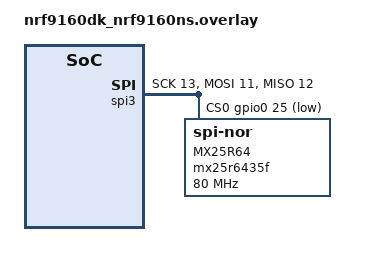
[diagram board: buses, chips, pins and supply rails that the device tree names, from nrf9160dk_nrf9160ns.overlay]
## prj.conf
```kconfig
CONFIG_SERIAL=y
#CONFIG_TRUSTED_EXECUTION_NONSECURE=y
#CONFIG_UART_INTERRUPT_DRIVEN=y
#CONFIG_UART_0_NRF_UARTE=y


# SPI

CONFIG_SPI=y
#CONFIG_NRFX_SPIM=y
#CONFIG_NRFX_SPIM3=y
#CONFIG_SPI_ASYNC=n

CONFIG_LOG=y
CONFIG_SPI_LOG_LEVEL_DBG=y


# Segger RTT
CONFIG_USE_SEGGER_RTT=y
CONFIG_RTT_CONSOLE=y
CONFIG_UART_CONSOLE=n
CONFIG_LOG_BACKEND_RTT=y
CONFIG_LOG_BACKEND_UART=n

CONFIG_DEBUG=y
CONFIG_THREAD_MONITOR=y
CONFIG_THREAD_NAME=y
CONFIG_THREAD_STACK_INFO=y
```

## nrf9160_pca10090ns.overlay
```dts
/*  */
&spi3 {
	compatible = "nordic,nrf-spim";
	status = "okay";
	sck-pin = <13>;
	mosi-pin = <11>;
	miso-pin = <12>;
    /* 
	cs-gpios = <&gpio0 25 GPIO_ACTIVE_LOW>;
	mx25r64: mx25r6435f@0 {
		compatible = "jedec,spi-nor";
		reg = <0>;
		spi-max-frequency = <80000000>;
		label = "MX25R64";
		jedec-id = [c2 28 17];
		size = <67108864>;
	};
    */
};
```

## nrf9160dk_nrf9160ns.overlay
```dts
/*  */
&spi3 {
	compatible = "nordic,nrf-spim";
	status = "okay";
	sck-pin = <13>;
	mosi-pin = <11>;
	miso-pin = <12>;
	cs-gpios = <&gpio0 25 GPIO_ACTIVE_LOW>;
	mx25r64: mx25r6435f@0 {
		compatible = "jedec,spi-nor";
		reg = <0>;
		spi-max-frequency = <80000000>;
		label = "MX25R64";
		jedec-id = [c2 28 17];
		size = <67108864>;
	};
};

&spi2 {
	status = "disabled";
};

&i2c1 {
    status = "disabled";
};
```

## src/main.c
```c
/*

* Copyright (c) 2012-2014 Wind River Systems, Inc.

*

* SPDX-License-Identifier: Apache-2.0

*/

#define TEST_SPI_CS_EN 1
#define SPI_CS_CFG_FROM_DTS 1

#if SPI_CS_CFG_FROM_DTS
#define DT_DRV_COMPAT jedec_spi_nor
#endif

#include <zephyr.h>
#include <sys/printk.h>

#include <drivers/spi.h>

/* including 

	const struct device	*gpio_dev;
	uint32_t		delay;
	gpio_pin_t		gpio_pin;
	gpio_dt_flags_t		gpio_dt_flags;
*/

#if TEST_SPI_CS_EN
struct spi_cs_control cs_ctrl; /*   */
#endif

static struct spi_config spi_cfg = {
	.operation = SPI_WORD_SET(8) /* | SPI_TRANSFER_MSB | SPI_MODE_CPOL |
		     SPI_MODE_CPHA*/,
	.frequency = 1000000,
	.slave = 0,
};

const struct device *spi_dev;

static void spi_init(void)
{
#if TEST_SPI_CS_EN
#if !SPI_CS_CFG_FROM_DTS /* not from DTS */
	/* A quick dirty way to add CS to SPI Master to control slave CS  */
	cs_ctrl.delay =
		0U; /* us time setup CS before and after SPI activities   */
	cs_ctrl.gpio_pin = 7; /* px.07; GPIO_0 -> p0.07 */
	cs_ctrl.gpio_dt_flags = GPIO_ACTIVE_LOW;
	cs_ctrl.gpio_dev = device_get_binding("GPIO_0");

	if (!cs_ctrl.gpio_dev) {
		printk("Unable to get GPIO SPI CS device");
		return;
	}
#else

/* require dts overlay includes the cs pin details, propery device driver setup.*/
#if DT_INST_SPI_DEV_HAS_CS_GPIOS(0)
	cs_ctrl.delay = 0U;
	cs_ctrl.gpio_pin =
		DT_INST_SPI_DEV_CS_GPIOS_PIN(0); /* */
	cs_ctrl.gpio_dt_flags = DT_INST_SPI_DEV_CS_GPIOS_FLAGS(0);
	cs_ctrl.gpio_dev =
		device_get_binding(DT_INST_SPI_DEV_CS_GPIOS_LABEL(0));

	if (!cs_ctrl.gpio_dev) {
		printk("Unable to get GPIO SPI CS device");
		return;
	}

#endif
#endif
	spi_cfg.cs = &cs_ctrl;
#endif
	const char *const spiName = "SPI_3";
	spi_dev = device_get_binding(spiName);

	if (spi_dev == NULL) {
		printk("Could not get %s device\n", spiName);
		return;
	}
}

void spi_test_send(void)
{
	int err;
	static uint8_t tx_buffer[32];
	static uint8_t rx_buffer[32];
    static uint8_t tx_return[32];

	const struct spi_buf tx_buf = { .buf = tx_buffer,
					.len = 1 };
	const struct spi_buf_set tx = { .buffers = &tx_buf, .count = 1 };

	struct spi_buf rx_buf[2] = {
        {
            .buf = tx_return,
            .len = 1
        },
        {
            .buf = rx_buffer,
            .len = 10
        }
	};
	const struct spi_buf_set rx = { .buffers = &rx_buf, .count = 2 };
    tx_buffer[0] = 0x9f;
	err = spi_transceive(spi_dev, &spi_cfg, &tx, &rx);
	if (err) {
		printk("SPI error: %d\n", err);
	} else {
		/* Connect MISO to MOSI for loopback */
		printk("TX sent: %x\n", tx_buffer[0]);
		printk("RX recv: %x %x %x\n", rx_buffer[0], rx_buffer[1], rx_buffer[2]  /* */);
		
	}
}




void main(void)
{
	printk("SPIM Example\n");
	spi_init();
    /* Validate bus and CS is ready */
  //  if (!spi_is_ready(&spi_cfg)) {
  //      return -ENODEV;
  //  }
	while (1) {
		spi_test_send();

		k_msleep(1000);
	}
}
```
